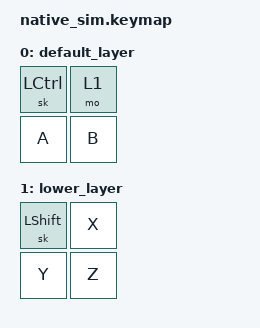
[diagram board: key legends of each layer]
#include <dt-bindings/zmk/keys.h>
#include <behaviors.dtsi>
#include <dt-bindings/zmk/kscan_mock.h>

/ {
    keymap {
        compatible = "zmk,keymap";

        default_layer {
            bindings = <&sk LEFT_CONTROL &mo 1
                        &kp A &kp B>;
        };

        lower_layer {
            bindings = <&sk LEFT_SHIFT &kp X
                        &kp Y &kp Z>;
        };
    };
};

&kscan {
    events = <
              /* tap sk LEFT_CONTROL */
              ZMK_MOCK_PRESS(0,0,10)
              ZMK_MOCK_RELEASE(0,0,10)
              /* switch to lower layer */
              ZMK_MOCK_PRESS(0,1,10)
              /* tap sk LEFT_SHIFT */
              ZMK_MOCK_PRESS(0,0,10)
              ZMK_MOCK_RELEASE(0,0,10)
              /* deactivate lower layer */
              ZMK_MOCK_RELEASE(0,1,10)
              /* tap A */
              ZMK_MOCK_PRESS(1,0,10)
              ZMK_MOCK_RELEASE(1,0,10)>;
};
